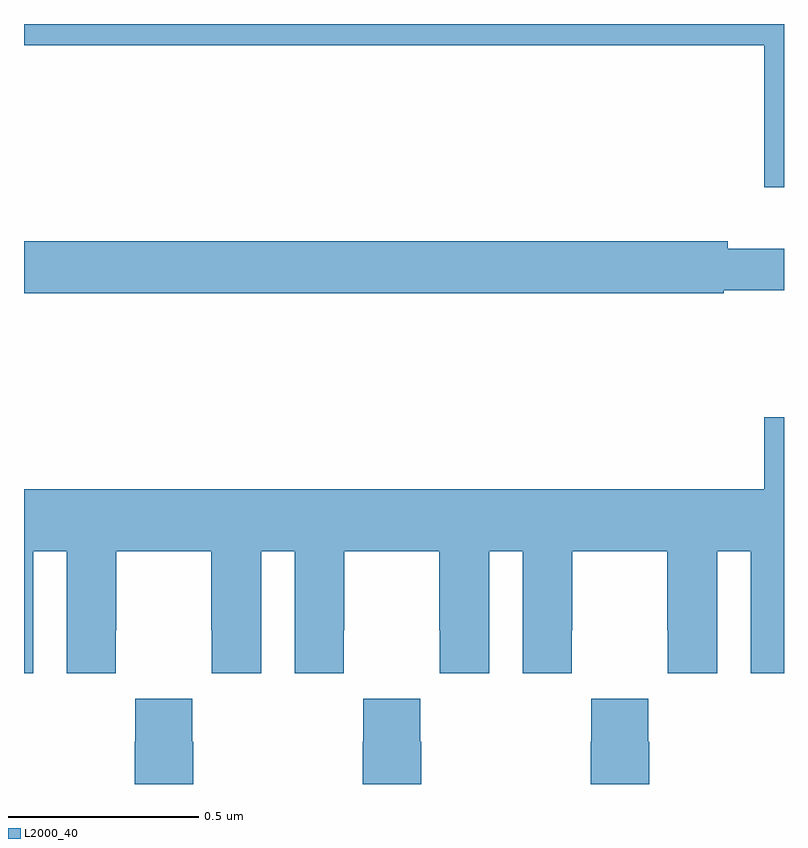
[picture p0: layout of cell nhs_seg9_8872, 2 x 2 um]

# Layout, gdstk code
import gdstk
lib = gdstk.Library(unit=1e-6, precision=1e-09)
def P(c, l, *ps):  # polygons
    for p in ps: c.add(gdstk.Polygon(p, *l))
L2000_40 = (2000, 40)

nhs_seg9_8872 = lib.new_cell('nhs_seg9_8872')
P(nhs_seg9_8872, L2000_40, [(225,1172.5),(223,1172.5),(223,1172.444),(224.948,1172.444),(224.948,1172.07),(225,1172.07)],
  [(224.842,1171.8),(225,1171.8),(225,1171.909),(224.852,1171.909),(224.852,1171.928),(223,1171.928),(223,1171.792),(224.842,1171.792)],
  [(223,1170.792),(223.024,1170.792),(223.024,1171.112),(223.112,1171.112),(223.112,1170.792),(223.242,1170.792),(223.242,1170.904),(223.243,1170.904),(223.243,1171.112),(223.493,1171.112),(223.493,1170.904),(223.494,1170.904),(223.494,1170.792),(223.624,1170.792),(223.624,1171.112),(223.712,1171.112),(223.712,1170.792),(223.842,1170.792),(223.842,1170.904),(223.843,1170.904),(223.843,1171.112),(224.093,1171.112),(224.093,1170.904),(224.094,1170.904),(224.094,1170.792),(224.224,1170.792),(224.224,1171.112),(224.312,1171.112),(224.312,1170.792),(224.442,1170.792),(224.442,1170.904),(224.443,1170.904),(224.443,1171.112),(224.693,1171.112),(224.693,1170.904),(224.694,1170.904),(224.694,1170.792),(224.824,1170.792),(224.824,1171.112),(224.912,1171.112),(224.912,1170.792),(225,1170.792),(225,1171.465),(224.948,1171.465),(224.948,1171.276),(223,1171.276)],
  [(223.446,1170.611),(223.443,1170.611),(223.443,1170.724),(223.293,1170.724),(223.293,1170.611),(223.291,1170.611),(223.291,1170.5),(223.446,1170.5)],
  [(224.046,1170.611),(224.043,1170.611),(224.043,1170.724),(223.893,1170.724),(223.893,1170.611),(223.891,1170.611),(223.891,1170.5),(224.046,1170.5)],
  [(224.646,1170.611),(224.643,1170.611),(224.643,1170.724),(224.493,1170.724),(224.493,1170.611),(224.491,1170.611),(224.491,1170.5),(224.646,1170.5)])

lib.write_gds('nhs_seg9_8872.gds')
